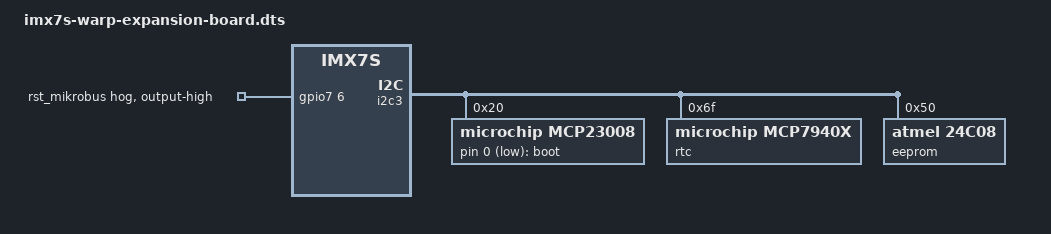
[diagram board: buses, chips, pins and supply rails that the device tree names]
// SPDX-License-Identifier: (GPL-2.0+ OR MIT)
/*
 * Copyright (C) Joris OFFOUGA.
 * Author: Joris OFFOUGA <offougajoris@gmail.com>
 */

/dts-v1/;

#include <dt-bindings/gpio/gpio.h>
#include <dt-bindings/leds/common.h>

#include "imx7s-warp.dts"
#include "imx7s-warp-u-boot.dtsi"

/ {
	leds {
		u-boot,dm-pre-reloc;
		compatible = "gpio-leds";
		system {
			u-boot,dm-pre-reloc;
			label = "boot";
			gpios = <&mcp23008 0 GPIO_ACTIVE_LOW>;
			//linux,default-trigger = "heartbeat";
			default-state = "on";
			status = "okay";
		};
	};
};

&gpio7 {
	u-boot,dm-pre-reloc;
	rst_mikrobus {
		gpio-hog;
		gpios = <6 GPIO_ACTIVE_HIGH>;
		output-high;
	};
};

&i2c3 {
	u-boot,dm-pre-reloc;
	mcp23008: mcp23008@20 {
			compatible = "microchip,mcp23008";
			gpio-controller;
			#gpio-cells = <2>;
			reg = <0x20>;
		};

	rtc@6f {
		compatible = "microchip,mcp7940x";
		reg = <0x6f>;
	};

	eeprom@50 {
		compatible = "atmel,24c08";
		reg = <0x50>;
		pagesize = <16>;
	};
};
